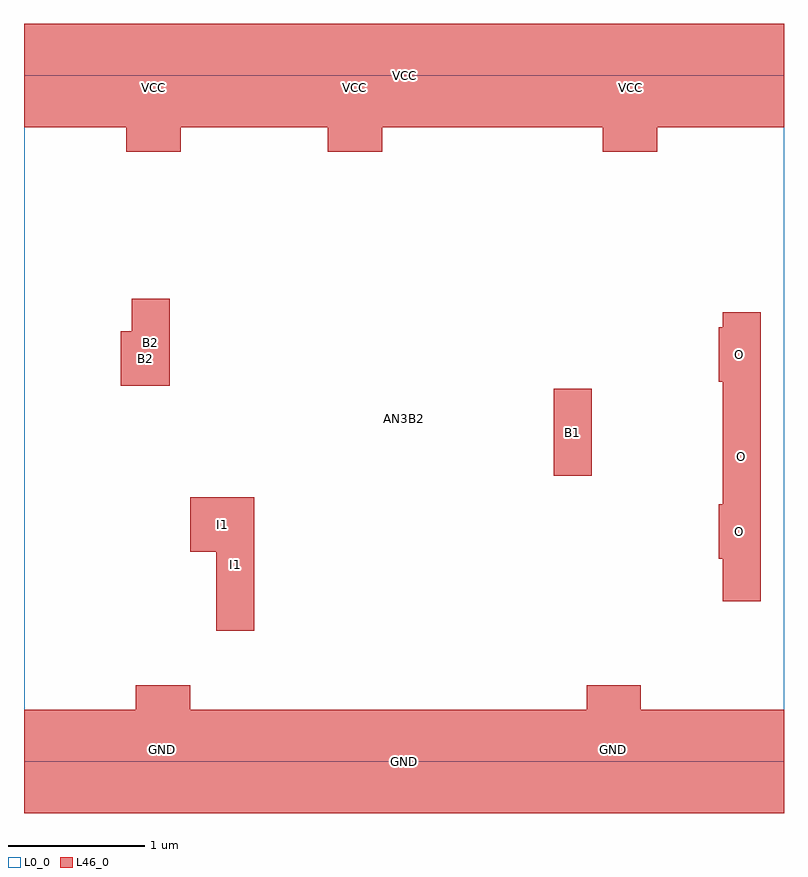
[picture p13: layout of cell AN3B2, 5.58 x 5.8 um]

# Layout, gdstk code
import gdstk
lib = gdstk.Library(unit=1e-6, precision=1e-09)
def R(c, l, rs):  # rectangles x0, y0, x1, y1
    for r in rs: c.add(gdstk.rectangle(r[:2], r[2:], *l))
L0_0 = (0, 0)
L46_0 = (46, 0)

an3b2 = lib.new_cell('AN3B2')
R(an3b2, L0_0, [(0,0,5.58,5.04)])
R(an3b2, L46_0, [(0,-0.38,5.58,0.38), (0.82,-0.38,1.22,0.56), (4.13,-0.38,4.53,0.56), (1.41,0.96,1.69,1.94), (5.13,1.18,5.41,3.3), (5.1,1.49,5.41,1.89), (1.22,1.54,1.69,1.94), (3.89,2.1,4.17,2.74), (0.71,2.76,1.07,3.16), (0.79,2.76,1.07,3.4), (5.1,2.79,5.41,3.19), (0.75,4.48,1.15,5.42), (2.23,4.48,2.63,5.42), (4.25,4.48,4.65,5.42), (0,4.66,5.58,5.42)])
an3b2.add(gdstk.Label('AN3B2', (2.79,2.52), layer=0, texttype=0))
an3b2.add(gdstk.Label('O', (5.255,2.99), layer=101, texttype=0))
an3b2.add(gdstk.Label('O', (5.27,2.24), layer=101, texttype=0))
an3b2.add(gdstk.Label('O', (5.255,1.69), layer=101, texttype=0))
an3b2.add(gdstk.Label('I1', (1.455,1.74), layer=101, texttype=0))
an3b2.add(gdstk.Label('I1', (1.55,1.45), layer=101, texttype=0))
an3b2.add(gdstk.Label('B2', (0.93,3.08), layer=101, texttype=0))
an3b2.add(gdstk.Label('B2', (0.89,2.96), layer=101, texttype=0))
an3b2.add(gdstk.Label('B1', (4.03,2.42), layer=101, texttype=0))
an3b2.add(gdstk.Label('GND', (4.33,0.09), layer=101, texttype=0))
an3b2.add(gdstk.Label('GND', (2.79,0), layer=101, texttype=0))
an3b2.add(gdstk.Label('GND', (1.02,0.09), layer=101, texttype=0))
an3b2.add(gdstk.Label('VCC', (2.43,4.95), layer=101, texttype=0))
an3b2.add(gdstk.Label('VCC', (4.45,4.95), layer=101, texttype=0))
an3b2.add(gdstk.Label('VCC', (2.79,5.04), layer=101, texttype=0))
an3b2.add(gdstk.Label('VCC', (0.95,4.95), layer=101, texttype=0))

lib.write_gds('AN3B2.gds')
